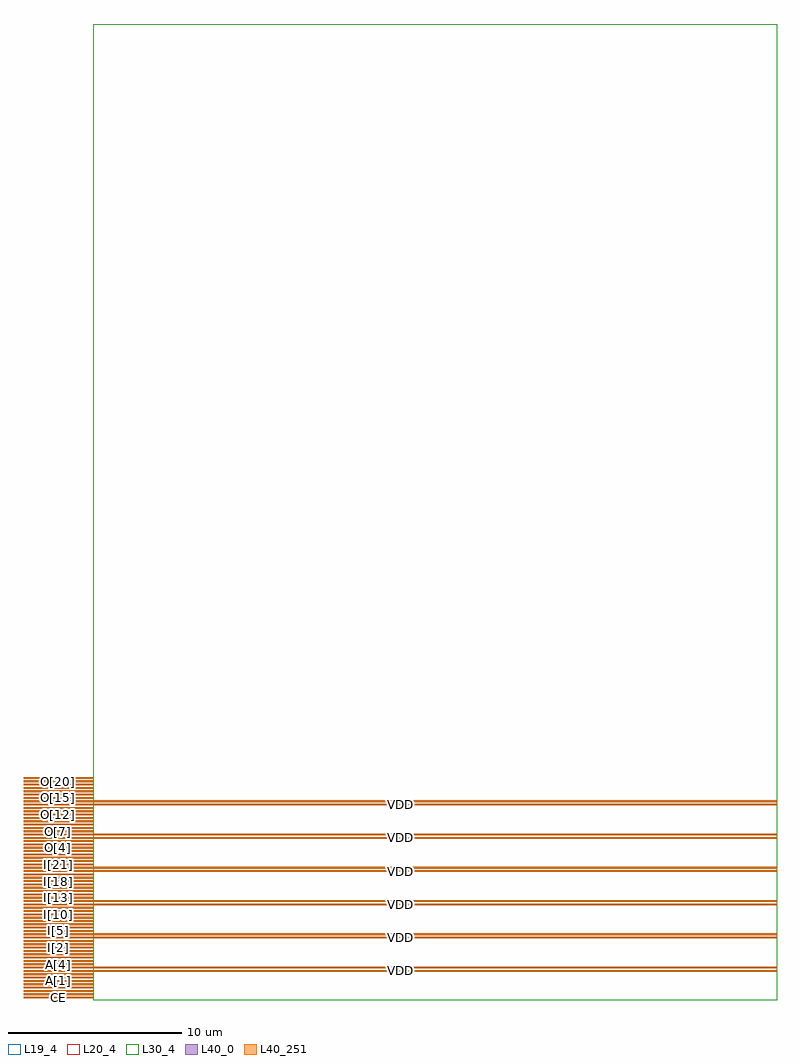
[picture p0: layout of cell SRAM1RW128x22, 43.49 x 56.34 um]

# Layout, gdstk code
import gdstk
lib = gdstk.Library(unit=1e-6, precision=1e-09)
def R(c, l, rs):  # rectangles x0, y0, x1, y1
    for r in rs: c.add(gdstk.rectangle(r[:2], r[2:], *l))
def A(c, l, x, y, w, h, nx, ny, dx, dy):  # array of equal rectangles
    R(c, l, [(x+i*dx, y+j*dy, x+i*dx+w, y+j*dy+h) for i in range(nx) for j in range(ny)])
L19_4 = (19, 4)
L20_4 = (20, 4)
L30_4 = (30, 4)
L40_0 = (40, 0)
L40_251 = (40, 251)

sram1rw128x22 = lib.new_cell('SRAM1RW128x22')
R(sram1rw128x22, L19_4, [(4,0,43.488,56.336)])
R(sram1rw128x22, L20_4, [(4,0,43.488,56.336)])
R(sram1rw128x22, L30_4, [(4,0,43.488,56.336)])
A(sram1rw128x22, L40_0, 0, 0.096, 4, 0.096, 1, 8, 0, 0.192)
A(sram1rw128x22, L40_0, 0, 2.016, 4, 0.096, 1, 8, 0, 0.192)
A(sram1rw128x22, L40_0, 0, 3.936, 4, 0.096, 1, 8, 0, 0.192)
A(sram1rw128x22, L40_0, 0, 5.856, 4, 0.096, 1, 8, 0, 0.192)
A(sram1rw128x22, L40_0, 0, 7.776, 4, 0.096, 1, 8, 0, 0.192)
A(sram1rw128x22, L40_0, 0, 9.696, 4, 0.096, 1, 8, 0, 0.192)
A(sram1rw128x22, L40_0, 0, 11.616, 4, 0.096, 1, 7, 0, 0.192)
R(sram1rw128x22, L40_0, [(0,1.632,43.488,1.728), (0,1.824,43.488,1.92), (0,3.552,43.488,3.648), (0,3.744,43.488,3.84), (0,5.472,43.488,5.568), (0,5.664,43.488,5.76), (0,7.392,43.488,7.488), (0,7.584,43.488,7.68), (0,9.312,43.488,9.408), (0,9.504,43.488,9.6), (0,11.232,43.488,11.328), (0,11.424,43.488,11.52)])
A(sram1rw128x22, L40_251, 0, 0.096, 4, 0.096, 1, 8, 0, 0.192)
A(sram1rw128x22, L40_251, 0, 2.016, 4, 0.096, 1, 8, 0, 0.192)
A(sram1rw128x22, L40_251, 0, 3.936, 4, 0.096, 1, 8, 0, 0.192)
A(sram1rw128x22, L40_251, 0, 5.856, 4, 0.096, 1, 8, 0, 0.192)
A(sram1rw128x22, L40_251, 0, 7.776, 4, 0.096, 1, 8, 0, 0.192)
A(sram1rw128x22, L40_251, 0, 9.696, 4, 0.096, 1, 8, 0, 0.192)
A(sram1rw128x22, L40_251, 0, 11.616, 4, 0.096, 1, 7, 0, 0.192)
R(sram1rw128x22, L40_251, [(0,1.632,43.488,1.728), (0,1.824,43.488,1.92), (0,3.552,43.488,3.648), (0,3.744,43.488,3.84), (0,5.472,43.488,5.568), (0,5.664,43.488,5.76), (0,7.392,43.488,7.488), (0,7.584,43.488,7.68), (0,9.312,43.488,9.408), (0,9.504,43.488,9.6), (0,11.232,43.488,11.328), (0,11.424,43.488,11.52)])
sram1rw128x22.add(gdstk.Label('CE', (2,0.144), layer=40, texttype=0))
sram1rw128x22.add(gdstk.Label('WEB', (2,0.336), layer=40, texttype=0))
sram1rw128x22.add(gdstk.Label('OEB', (2,0.528), layer=40, texttype=0))
sram1rw128x22.add(gdstk.Label('CSB', (2,0.72), layer=40, texttype=0))
sram1rw128x22.add(gdstk.Label('A[0]', (2,0.912), layer=40, texttype=0))
sram1rw128x22.add(gdstk.Label('A[1]', (2,1.104), layer=40, texttype=0))
sram1rw128x22.add(gdstk.Label('A[2]', (2,1.296), layer=40, texttype=0))
sram1rw128x22.add(gdstk.Label('A[3]', (2,1.488), layer=40, texttype=0))
sram1rw128x22.add(gdstk.Label('A[4]', (2,2.064), layer=40, texttype=0))
sram1rw128x22.add(gdstk.Label('A[5]', (2,2.256), layer=40, texttype=0))
sram1rw128x22.add(gdstk.Label('A[6]', (2,2.448), layer=40, texttype=0))
sram1rw128x22.add(gdstk.Label('I[0]', (2,2.64), layer=40, texttype=0))
sram1rw128x22.add(gdstk.Label('I[1]', (2,2.832), layer=40, texttype=0))
sram1rw128x22.add(gdstk.Label('I[2]', (2,3.024), layer=40, texttype=0))
sram1rw128x22.add(gdstk.Label('I[3]', (2,3.216), layer=40, texttype=0))
sram1rw128x22.add(gdstk.Label('I[4]', (2,3.408), layer=40, texttype=0))
sram1rw128x22.add(gdstk.Label('I[5]', (2,3.984), layer=40, texttype=0))
sram1rw128x22.add(gdstk.Label('I[6]', (2,4.176), layer=40, texttype=0))
sram1rw128x22.add(gdstk.Label('I[7]', (2,4.368), layer=40, texttype=0))
sram1rw128x22.add(gdstk.Label('I[8]', (2,4.56), layer=40, texttype=0))
sram1rw128x22.add(gdstk.Label('I[9]', (2,4.752), layer=40, texttype=0))
sram1rw128x22.add(gdstk.Label('I[10]', (2,4.944), layer=40, texttype=0))
sram1rw128x22.add(gdstk.Label('I[11]', (2,5.136), layer=40, texttype=0))
sram1rw128x22.add(gdstk.Label('I[12]', (2,5.328), layer=40, texttype=0))
sram1rw128x22.add(gdstk.Label('I[13]', (2,5.904), layer=40, texttype=0))
sram1rw128x22.add(gdstk.Label('I[14]', (2,6.096), layer=40, texttype=0))
sram1rw128x22.add(gdstk.Label('I[15]', (2,6.288), layer=40, texttype=0))
sram1rw128x22.add(gdstk.Label('I[16]', (2,6.48), layer=40, texttype=0))
sram1rw128x22.add(gdstk.Label('I[17]', (2,6.672), layer=40, texttype=0))
sram1rw128x22.add(gdstk.Label('I[18]', (2,6.864), layer=40, texttype=0))
sram1rw128x22.add(gdstk.Label('I[19]', (2,7.056), layer=40, texttype=0))
sram1rw128x22.add(gdstk.Label('I[20]', (2,7.248), layer=40, texttype=0))
sram1rw128x22.add(gdstk.Label('I[21]', (2,7.824), layer=40, texttype=0))
sram1rw128x22.add(gdstk.Label('O[0]', (2,8.016), layer=40, texttype=0))
sram1rw128x22.add(gdstk.Label('O[1]', (2,8.208), layer=40, texttype=0))
sram1rw128x22.add(gdstk.Label('O[2]', (2,8.4), layer=40, texttype=0))
sram1rw128x22.add(gdstk.Label('O[3]', (2,8.592), layer=40, texttype=0))
sram1rw128x22.add(gdstk.Label('O[4]', (2,8.784), layer=40, texttype=0))
sram1rw128x22.add(gdstk.Label('O[5]', (2,8.976), layer=40, texttype=0))
sram1rw128x22.add(gdstk.Label('O[6]', (2,9.168), layer=40, texttype=0))
sram1rw128x22.add(gdstk.Label('O[7]', (2,9.744), layer=40, texttype=0))
sram1rw128x22.add(gdstk.Label('O[8]', (2,9.936), layer=40, texttype=0))
sram1rw128x22.add(gdstk.Label('O[9]', (2,10.128), layer=40, texttype=0))
sram1rw128x22.add(gdstk.Label('O[10]', (2,10.32), layer=40, texttype=0))
sram1rw128x22.add(gdstk.Label('O[11]', (2,10.512), layer=40, texttype=0))
sram1rw128x22.add(gdstk.Label('O[12]', (2,10.704), layer=40, texttype=0))
sram1rw128x22.add(gdstk.Label('O[13]', (2,10.896), layer=40, texttype=0))
sram1rw128x22.add(gdstk.Label('O[14]', (2,11.088), layer=40, texttype=0))
sram1rw128x22.add(gdstk.Label('O[15]', (2,11.664), layer=40, texttype=0))
sram1rw128x22.add(gdstk.Label('O[16]', (2,11.856), layer=40, texttype=0))
sram1rw128x22.add(gdstk.Label('O[17]', (2,12.048), layer=40, texttype=0))
sram1rw128x22.add(gdstk.Label('O[18]', (2,12.24), layer=40, texttype=0))
sram1rw128x22.add(gdstk.Label('O[19]', (2,12.432), layer=40, texttype=0))
sram1rw128x22.add(gdstk.Label('O[20]', (2,12.624), layer=40, texttype=0))
sram1rw128x22.add(gdstk.Label('O[21]', (2,12.816), layer=40, texttype=0))
sram1rw128x22.add(gdstk.Label('VDD', (21.744,1.68), layer=40, texttype=0))
sram1rw128x22.add(gdstk.Label('VDD', (21.744,3.6), layer=40, texttype=0))
sram1rw128x22.add(gdstk.Label('VDD', (21.744,5.52), layer=40, texttype=0))
sram1rw128x22.add(gdstk.Label('VDD', (21.744,7.44), layer=40, texttype=0))
sram1rw128x22.add(gdstk.Label('VDD', (21.744,9.36), layer=40, texttype=0))
sram1rw128x22.add(gdstk.Label('VDD', (21.744,11.28), layer=40, texttype=0))
sram1rw128x22.add(gdstk.Label('VSS', (21.744,1.872), layer=40, texttype=0))
sram1rw128x22.add(gdstk.Label('VSS', (21.744,3.792), layer=40, texttype=0))
sram1rw128x22.add(gdstk.Label('VSS', (21.744,5.712), layer=40, texttype=0))
sram1rw128x22.add(gdstk.Label('VSS', (21.744,7.632), layer=40, texttype=0))
sram1rw128x22.add(gdstk.Label('VSS', (21.744,9.552), layer=40, texttype=0))
sram1rw128x22.add(gdstk.Label('VSS', (21.744,11.472), layer=40, texttype=0))

lib.write_gds('SRAM1RW128x22.gds')
